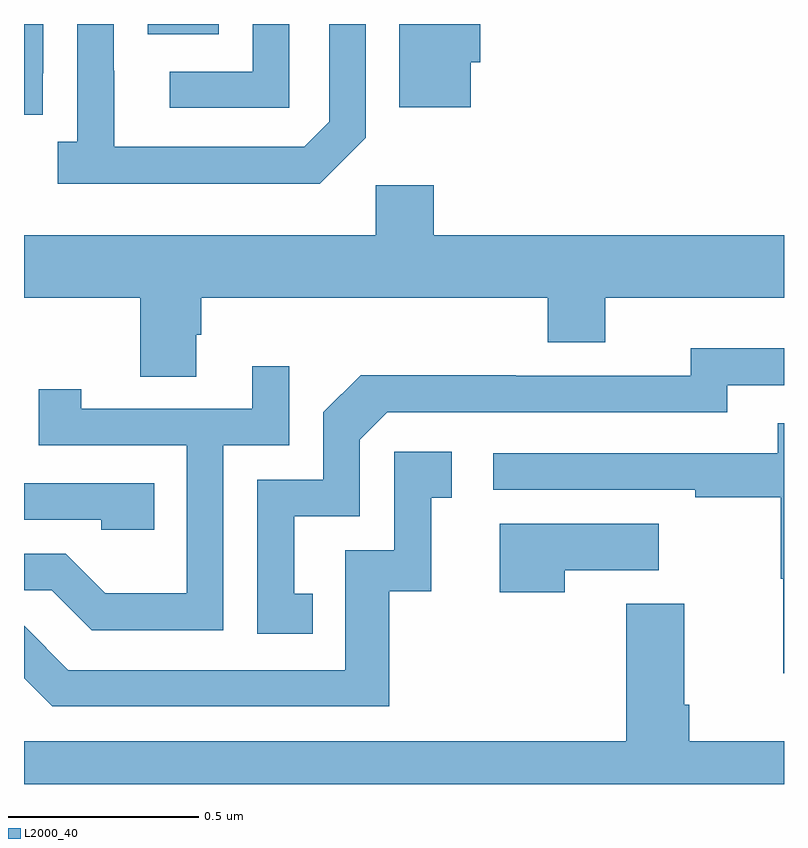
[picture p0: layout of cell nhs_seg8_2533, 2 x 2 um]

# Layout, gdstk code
import gdstk
lib = gdstk.Library(unit=1e-6, precision=1e-09)
def R(c, l, rs):  # rectangles x0, y0, x1, y1
    for r in rs: c.add(gdstk.rectangle(r[:2], r[2:], *l))
def P(c, l, *ps):  # polygons
    for p in ps: c.add(gdstk.Polygon(p, *l))
L2000_40 = (2000, 40)

nhs_seg8_2533 = lib.new_cell('nhs_seg8_2533')
R(nhs_seg8_2533, L2000_40, [(145.325,1103.873,145.513,1103.9)])
P(nhs_seg8_2533, L2000_40, [(146.176,1103.799),(146.201,1103.799),(146.201,1103.9),(145.988,1103.9),(145.988,1103.681),(146.176,1103.681)],
  [(145.049,1103.77),(145.05,1103.77),(145.05,1103.9),(145,1103.9),(145,1103.661),(145.049,1103.661)],
  [(145.899,1103.601),(145.899,1103.9),(145.803,1103.9),(145.803,1103.643),(145.737,1103.577),(145.237,1103.577),(145.237,1103.777),(145.236,1103.777),(145.236,1103.9),(145.14,1103.9),(145.14,1103.59),(145.089,1103.59),(145.089,1103.48),(145.778,1103.48)],
  [(145.698,1103.9),(145.602,1103.9),(145.602,1103.775),(145.383,1103.775),(145.383,1103.679),(145.698,1103.679)],
  [(145.453,1103.082),(145.466,1103.082),(145.466,1103.18),(146.378,1103.18),(146.378,1103.063),(146.53,1103.063),(146.53,1103.18),(147,1103.18),(147,1103.344),(146.078,1103.344),(146.078,1103.476),(145.926,1103.476),(145.926,1103.344),(145,1103.344),(145,1103.18),(145.306,1103.18),(145.306,1102.972),(145.453,1102.972)],
  [(145.76,1102.401),(145.711,1102.401),(145.711,1102.605),(145.884,1102.605),(145.884,1102.806),(145.956,1102.878),(146.85,1102.878),(146.85,1102.95),(147,1102.95),(147,1103.047),(146.754,1103.047),(146.754,1102.974),(146.294,1102.974),(146.294,1102.976),(145.886,1102.976),(145.788,1102.878),(145.788,1102.701),(145.614,1102.701),(145.614,1102.296),(145.76,1102.296)],
  [(145.524,1102.791),(145.698,1102.791),(145.698,1102.999),(145.601,1102.999),(145.601,1102.887),(145.15,1102.887),(145.15,1102.939),(145.039,1102.939),(145.039,1102.791),(145.428,1102.791),(145.428,1102.402),(145.214,1102.402),(145.11,1102.506),(145,1102.506),(145,1102.41),(145.073,1102.41),(145.178,1102.305),(145.524,1102.305)],
  [(147,1102.849),(146.983,1102.849),(146.983,1102.77),(146.235,1102.77),(146.235,1102.674),(146.767,1102.674),(146.767,1102.654),(146.991,1102.654),(146.991,1102.44),(146.998,1102.44),(146.998,1102.191),(147,1102.191)],
  [(145.961,1102.407),(146.072,1102.407),(146.072,1102.653),(146.125,1102.653),(146.125,1102.774),(145.974,1102.774),(145.974,1102.515),(145.845,1102.515),(145.845,1102.2),(145.116,1102.2),(145,1102.316),(145,1102.178),(145.074,1102.104),(145.961,1102.104)],
  [(145.343,1102.692),(145,1102.692),(145,1102.596),(145.203,1102.596),(145.203,1102.569),(145.343,1102.569)],
  [(146.423,1102.463),(146.671,1102.463),(146.671,1102.585),(146.252,1102.585),(146.252,1102.404),(146.423,1102.404)],
  [(147,1102.012),(146.75,1102.012),(146.75,1102.108),(146.737,1102.108),(146.737,1102.375),(146.585,1102.375),(146.585,1102.012),(145,1102.012),(145,1101.9),(147,1101.9)])

lib.write_gds('nhs_seg8_2533.gds')
